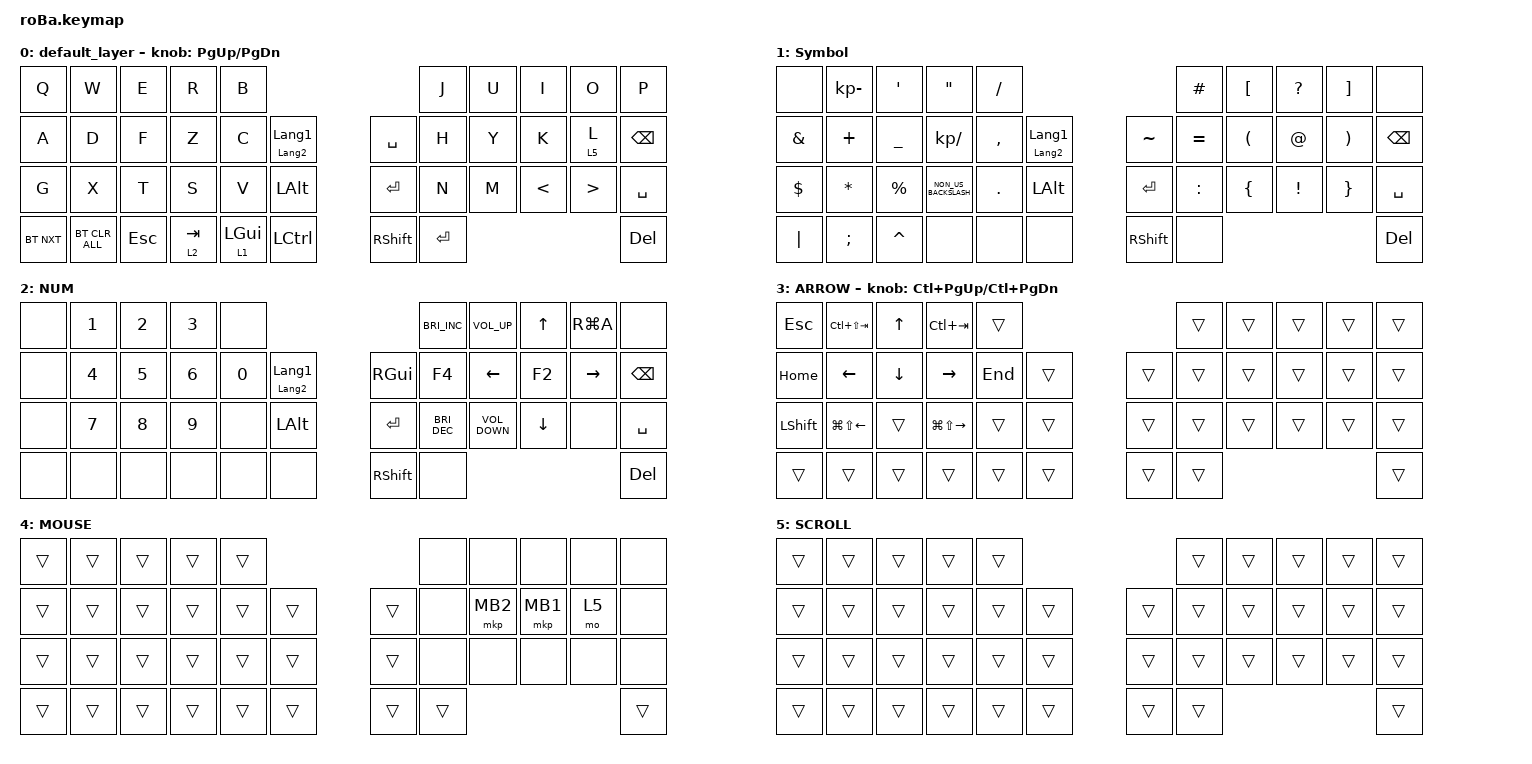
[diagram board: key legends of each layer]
#include <behaviors.dtsi>
#include <dt-bindings/zmk/bt.h>
#include <dt-bindings/zmk/keys.h>
#include <dt-bindings/zmk/pointing.h>

&mt {
    flavor = "balanced";
    quick-tap-ms = <0>;
};

&trackball {
    automouse-layer = <4>;
    scroll-layers = <5>;

    // arrows {
    //     layers = <3>;
    //     bindings =
    //         <&kp RIGHT_ARROW>,
    //         <&kp LEFT_ARROW>,
    //         <&kp UP_ARROW>,
    //         <&kp DOWN_ARROW>;
    //     tick = <10>;
    //     wait-ms = <5>;
    //     tap-ms = <5>;
    // };
};

/ {
    combos {
        compatible = "zmk,combos";

        tab {
            bindings = <&kp TAB>;
            key-positions = <11 12>;
        };

        shift_tab {
            bindings = <&kp LS(TAB)>;
            key-positions = <12 13>;
        };

        double_quotation {
            bindings = <&kp DOUBLE_QUOTES>;
            key-positions = <20 21>;
        };

        eq {
            bindings = <&kp EQUAL>;
            key-positions = <24 25>;
        };
    };

    keymap {
        compatible = "zmk,keymap";

        default_layer {
            bindings = <
&kp Q       &kp W           &kp E    &kp R      &kp B                                                           &kp J      &kp U  &kp I          &kp O             &kp P
&kp A       &kp D           &kp F    &kp Z      &kp C           &mt LANGUAGE_2 LANGUAGE_1      &kp SPACE        &kp H      &kp Y  &kp K          &lt 5 L           &kp BACKSPACE
&kp G       &kp X           &kp T    &kp S      &kp V           &kp LEFT_ALT                   &kp ENTER        &kp N      &kp M  &kp LESS_THAN  &kp GREATER_THAN  &kp SPACE
&bt BT_NXT  &bt BT_CLR_ALL  &kp ESC  &lt 2 TAB  &lt 1 LEFT_GUI  &kp LCTRL                      &kp RIGHT_SHIFT  &kp ENTER                                          &kp DEL
            >;

            sensor-bindings = <&inc_dec_kp PG_UP PAGE_DOWN>;
        };

        Symbol {
            bindings = <
&none          &kp KP_MINUS   &kp APOSTROPHE  &kp DOUBLE_QUOTES     &kp SLASH                                                   &kp HASH   &kp LEFT_BRACKET      &kp QUESTION     &kp RIGHT_BRACKET      &none
&kp AMPERSAND  &kp PLUS       &kp UNDER       &kp KP_SLASH          &kp COMMA   &mt LANGUAGE_2 LANGUAGE_1      &kp TILDE        &kp EQUAL  &kp LEFT_PARENTHESIS  &kp AT_SIGN      &kp RIGHT_PARENTHESIS  &kp BACKSPACE
&kp DOLLAR     &kp ASTERISK   &kp PERCENT     &kp NON_US_BACKSLASH  &kp PERIOD  &kp LEFT_ALT                   &kp ENTER        &kp COLON  &kp LEFT_BRACE        &kp EXCLAMATION  &kp RIGHT_BRACE        &kp SPACE
&kp PIPE       &kp SEMICOLON  &kp CARET       &none                 &none       &none                          &kp RIGHT_SHIFT  &none                                                                    &kp DELETE
            >;
        };

        NUM {
            bindings = <
&none  &kp NUMBER_1  &kp NUMBER_2  &kp NUMBER_3  &none                                                         &kp C_BRIGHTNESS_INC  &kp C_VOLUME_UP    &kp UP_ARROW    &kp RG(A)        &none
&none  &kp NUMBER_4  &kp NUMBER_5  &kp NUMBER_6  &kp NUMBER_0  &mt LANGUAGE_2 LANGUAGE_1      &kp RIGHT_GUI    &kp F4                &kp LEFT_ARROW     &kp F2          &kp RIGHT_ARROW  &kp BACKSPACE
&none  &kp NUMBER_7  &kp NUMBER_8  &kp NUMBER_9  &none         &kp LEFT_ALT                   &kp ENTER        &kp C_BRIGHTNESS_DEC  &kp C_VOLUME_DOWN  &kp DOWN_ARROW  &none            &kp SPACE
&none  &none         &none         &none         &none         &none                          &kp RIGHT_SHIFT  &none                                                                     &kp DELETE
            >;
        };

        ARROW {
            bindings = <
&kp ESCAPE      &kp LC(LS(TAB))         &kp UP_ARROW    &kp LC(TAB)              &trans                       &trans  &trans  &trans  &trans  &trans
&kp HOME        &kp LEFT_ARROW          &kp DOWN_ARROW  &kp RIGHT_ARROW          &kp END  &trans      &trans  &trans  &trans  &trans  &trans  &trans
&kp LEFT_SHIFT  &kp LG(LS(LEFT_ARROW))  &trans          &kp LG(LS(RIGHT_ARROW))  &trans   &trans      &trans  &trans  &trans  &trans  &trans  &trans
&trans          &trans                  &trans          &trans                   &trans   &trans      &trans  &trans                          &trans
            >;

            sensor-bindings = <&inc_dec_kp LC(PAGE_UP) LC(PAGE_DOWN)>;
        };

        MOUSE {
            bindings = <
&trans  &trans  &trans  &trans  &trans                      &none   &none     &none     &none  &none
&trans  &trans  &trans  &trans  &trans  &trans      &trans  &none   &mkp MB2  &mkp MB1  &mo 5  &none
&trans  &trans  &trans  &trans  &trans  &trans      &trans  &none   &none     &none     &none  &none
&trans  &trans  &trans  &trans  &trans  &trans      &trans  &trans                             &trans
            >;
        };

        SCROLL {
            bindings = <
&trans  &trans  &trans  &trans  &trans                      &trans  &trans  &trans  &trans  &trans
&trans  &trans  &trans  &trans  &trans  &trans      &trans  &trans  &trans  &trans  &trans  &trans
&trans  &trans  &trans  &trans  &trans  &trans      &trans  &trans  &trans  &trans  &trans  &trans
&trans  &trans  &trans  &trans  &trans  &trans      &trans  &trans                          &trans
            >;
        };
    };
};
